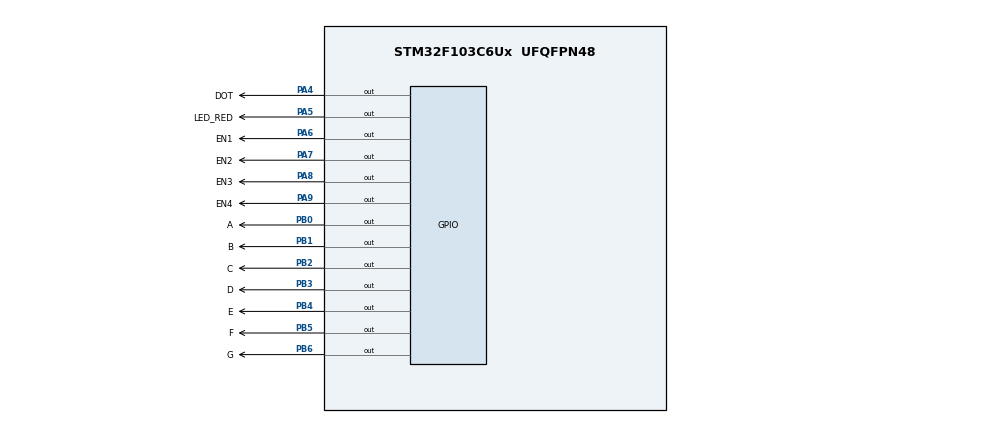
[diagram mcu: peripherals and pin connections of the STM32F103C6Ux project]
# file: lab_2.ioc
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Mcu.Family=STM32F1
Mcu.Name=STM32F103C6Ux
Mcu.Package=UFQFPN48
NVIC.PriorityGroup=NVIC_PRIORITYGROUP_4
NVIC.TIM2_IRQn=true\:0\:0\:false\:false\:true\:true\:true
PA4.GPIO_Label=DOT
PA4.Signal=GPIO_Output
PA5.GPIO_Label=LED_RED
PA5.Signal=GPIO_Output
PA6.GPIO_Label=EN1
PA6.Signal=GPIO_Output
PA7.GPIO_Label=EN2
PA7.Signal=GPIO_Output
PA8.GPIO_Label=EN3
PA8.Signal=GPIO_Output
PA9.GPIO_Label=EN4
PA9.Signal=GPIO_Output
PB0.GPIO_Label=A
PB0.Signal=GPIO_Output
PB1.GPIO_Label=B
PB1.Signal=GPIO_Output
PB2.GPIO_Label=C
PB2.Signal=GPIO_Output
PB3.GPIO_Label=D
PB3.Signal=GPIO_Output
PB4.GPIO_Label=E
PB4.Signal=GPIO_Output
PB5.GPIO_Label=F
PB5.Signal=GPIO_Output
PB6.GPIO_Label=G
PB6.Signal=GPIO_Output
ProjectManager.HeapSize=0x200
ProjectManager.StackSize=0x400
ProjectManager.TargetToolchain=STM32CubeIDE
RCC.APB1Freq_Value=8000000
RCC.APB2Freq_Value=8000000
TIM2.Period=9
TIM2.Prescaler=7999
VP_SYS_VS_ND.Mode=No_Debug
VP_TIM2_VS_ClockSourceINT.Mode=Internal
board=custom

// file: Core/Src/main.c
/* USER CODE BEGIN Header */
/**
  ******************************************************************************
  * @file           : main.c
  * @brief          : Main program body
  ******************************************************************************
  * @attention
  *
  * <h2><center>&copy; Copyright (c) 2022 STMicroelectronics.
  * All rights reserved.</center></h2>
  *
  * This software component is licensed by ST under BSD 3-Clause license,
  * the "License"; You may not use this file except in compliance with the
  * License. You may obtain a copy of the License at:
  *                        opensource.org/licenses/BSD-3-Clause
  *
  ******************************************************************************
  */
/* USER CODE END Header */
#include "main.h"

/* USER CODE BEGIN Includes */
#include "software_timer.h"
/* USER CODE END Includes */

TIM_HandleTypeDef htim2;
int hour, minute, second;

void SystemClock_Config(void);
static void MX_TIM2_Init(void);
static void MX_GPIO_Init(void);
/* USER CODE BEGIN PFP */
void display7SEG(int num);
void update7SEG(int index);
void updateClockBuffer();
/* USER CODE END PFP */

int main(void)
{

  /* MCU Configuration--------------------------------------------------------*/

  /* Reset of all peripherals, Initializes the Flash interface and the Systick. */
  HAL_Init();

  /* Configure the system clock */
  SystemClock_Config();

  /* Initialize all configured peripherals */
  MX_TIM2_Init();
  MX_GPIO_Init();
  /* USER CODE BEGIN 2 */
  HAL_TIM_Base_Start_IT(&htim2);
  /* USER CODE END 2 */

  /* Infinite loop */
  /* USER CODE BEGIN WHILE */
  setTimer0(1000);
  setTimer1(250);
  hour = 15, minute = 8, second = 50;
  int state = 0;
  while (1)
  {
    /* USER CODE END WHILE */
	  //ex5
	  /*second++;
	  if(second >= 60){
		  second = 0;
		  minute++;
	  }
	  if(minute >= 60){
		  minute = 0;
		  hour++;
	  }
	  if(hour >= 24){
		  hour = 0;
	  }
	  updateClockBuffer();
	  HAL_Delay(10);
	  */
	  //ex6
	  /*if( timer0_flag == 1) {
	     HAL_GPIO_TogglePin ( LED_RED_GPIO_Port , LED_RED_Pin ) ;
	     setTimer0 (2000) ;
	  }*/
	  //ex7
	  if( timer0_flag == 1) {
		  second++;
		  if(second >= 60){
			  second = 0;
			  minute++;
		  }
		  if(minute >= 60){
			  minute = 0;
			  hour++;
		  }
		  if(hour >= 24){
			  hour = 0;
		  }
		  updateClockBuffer();
	  	  setTimer0 (10) ;
	  }
	  if(timer1_flag == 1){
		  if(state == 0){
				HAL_GPIO_TogglePin ( DOT_GPIO_Port , DOT_Pin) ;
				setTimer1 (250);
				update7SEG(1);
				state = 1;
		  }
		  else if(state == 1){
				setTimer1 (250);
				update7SEG(2);
				state = 2;
		  }
		  else if(state == 2){
				HAL_GPIO_TogglePin ( DOT_GPIO_Port , DOT_Pin) ;
				setTimer1 (250);
				update7SEG(3);
				state = 3;
		  }
		  else{
				setTimer1 (250);
				update7SEG(0);
				state = 0;
		  }
	  }
  }
}

void SystemClock_Config(void)
{
  RCC_OscInitTypeDef RCC_OscInitStruct = {0};
  RCC_ClkInitTypeDef RCC_ClkInitStruct = {0};

  /** Initializes the RCC Oscillators according to the specified parameters
  * in the RCC_OscInitTypeDef structure.
  */
  RCC_OscInitStruct.OscillatorType = RCC_OSCILLATORTYPE_HSI;
  RCC_OscInitStruct.HSIState = RCC_HSI_ON;
  RCC_OscInitStruct.HSICalibrationValue = RCC_HSICALIBRATION_DEFAULT;
  RCC_OscInitStruct.PLL.PLLState = RCC_PLL_NONE;
  if (HAL_RCC_OscConfig(&RCC_OscInitStruct) != HAL_OK)
  {
    Error_Handler();
  }
  /** Initializes the CPU, AHB and APB buses clocks
  */
  RCC_ClkInitStruct.ClockType = RCC_CLOCKTYPE_HCLK|RCC_CLOCKTYPE_SYSCLK
                              |RCC_CLOCKTYPE_PCLK1|RCC_CLOCKTYPE_PCLK2;
  RCC_ClkInitStruct.SYSCLKSource = RCC_SYSCLKSOURCE_HSI;
  RCC_ClkInitStruct.AHBCLKDivider = RCC_SYSCLK_DIV1;
  RCC_ClkInitStruct.APB1CLKDivider = RCC_HCLK_DIV1;
  RCC_ClkInitStruct.APB2CLKDivider = RCC_HCLK_DIV1;

  if (HAL_RCC_ClockConfig(&RCC_ClkInitStruct, FLASH_LATENCY_0) != HAL_OK)
  {
    Error_Handler();
  }
}

static void MX_TIM2_Init(void)
{

  TIM_ClockConfigTypeDef sClockSourceConfig = {0};
  TIM_MasterConfigTypeDef sMasterConfig = {0};

  htim2.Instance = TIM2;
  htim2.Init.Prescaler = 7999;
  htim2.Init.CounterMode = TIM_COUNTERMODE_UP;
  htim2.Init.Period = 9;
  htim2.Init.ClockDivision = TIM_CLOCKDIVISION_DIV1;
  htim2.Init.AutoReloadPreload = TIM_AUTORELOAD_PRELOAD_DISABLE;
  if (HAL_TIM_Base_Init(&htim2) != HAL_OK)
  {
    Error_Handler();
  }
  sClockSourceConfig.ClockSource = TIM_CLOCKSOURCE_INTERNAL;
  if (HAL_TIM_ConfigClockSource(&htim2, &sClockSourceConfig) != HAL_OK)
  {
    Error_Handler();
  }
  sMasterConfig.MasterOutputTrigger = TIM_TRGO_RESET;
  sMasterConfig.MasterSlaveMode = TIM_MASTERSLAVEMODE_DISABLE;
  if (HAL_TIMEx_MasterConfigSynchronization(&htim2, &sMasterConfig) != HAL_OK)
  {
    Error_Handler();
  }

}

static void MX_GPIO_Init(void)
{
  GPIO_InitTypeDef GPIO_InitStruct = {0};

  /* GPIO Ports Clock Enable */
  __HAL_RCC_GPIOA_CLK_ENABLE();
  __HAL_RCC_GPIOB_CLK_ENABLE();

  /*Configure GPIO pin Output Level */
  HAL_GPIO_WritePin(GPIOA, DOT_Pin|LED_RED_Pin|EN1_Pin|EN2_Pin
                          |EN3_Pin|EN4_Pin, GPIO_PIN_RESET);

  /*Configure GPIO pin Output Level */
  HAL_GPIO_WritePin(GPIOB, A_Pin|B_Pin|C_Pin|D_Pin
                          |E_Pin|F_Pin|G_Pin, GPIO_PIN_RESET);

  /*Configure GPIO pins : DOT_Pin LED_RED_Pin EN1_Pin EN2_Pin
                           EN3_Pin EN4_Pin */
  GPIO_InitStruct.Pin = DOT_Pin|LED_RED_Pin|EN1_Pin|EN2_Pin
                          |EN3_Pin|EN4_Pin;
  GPIO_InitStruct.Mode = GPIO_MODE_OUTPUT_PP;
  GPIO_InitStruct.Pull = GPIO_NOPULL;
  GPIO_InitStruct.Speed = GPIO_SPEED_FREQ_LOW;
  HAL_GPIO_Init(GPIOA, &GPIO_InitStruct);

  /*Configure GPIO pins : A_Pin B_Pin C_Pin D_Pin
                           E_Pin F_Pin G_Pin */
  GPIO_InitStruct.Pin = A_Pin|B_Pin|C_Pin|D_Pin
                          |E_Pin|F_Pin|G_Pin;
  GPIO_InitStruct.Mode = GPIO_MODE_OUTPUT_PP;
  GPIO_InitStruct.Pull = GPIO_NOPULL;
  GPIO_InitStruct.Speed = GPIO_SPEED_FREQ_LOW;
  HAL_GPIO_Init(GPIOB, &GPIO_InitStruct);

}

/* USER CODE BEGIN 4 */
void display7SEG(int num){
	switch(num){
	case 0:
		HAL_GPIO_WritePin ( A_GPIO_Port , A_Pin , GPIO_PIN_RESET ) ;
		HAL_GPIO_WritePin ( B_GPIO_Port , B_Pin , GPIO_PIN_RESET ) ;
		HAL_GPIO_WritePin ( C_GPIO_Port , C_Pin , GPIO_PIN_RESET ) ;
		HAL_GPIO_WritePin ( D_GPIO_Port , D_Pin , GPIO_PIN_RESET ) ;
		HAL_GPIO_WritePin ( E_GPIO_Port , E_Pin , GPIO_PIN_RESET ) ;
		HAL_GPIO_WritePin ( F_GPIO_Port , F_Pin , GPIO_PIN_RESET ) ;
		HAL_GPIO_WritePin ( G_GPIO_Port , G_Pin , GPIO_PIN_SET ) ;
		break;
	case 1:
		HAL_GPIO_WritePin ( A_GPIO_Port , A_Pin , GPIO_PIN_SET ) ;
		HAL_GPIO_WritePin ( B_GPIO_Port , B_Pin , GPIO_PIN_RESET ) ;
		HAL_GPIO_WritePin ( C_GPIO_Port , C_Pin , GPIO_PIN_RESET ) ;
		HAL_GPIO_WritePin ( D_GPIO_Port , D_Pin , GPIO_PIN_SET ) ;
		HAL_GPIO_WritePin ( E_GPIO_Port , E_Pin , GPIO_PIN_SET ) ;
		HAL_GPIO_WritePin ( F_GPIO_Port , F_Pin , GPIO_PIN_SET ) ;
		HAL_GPIO_WritePin ( G_GPIO_Port , G_Pin , GPIO_PIN_SET ) ;
		break;
	case 2:
		HAL_GPIO_WritePin ( A_GPIO_Port , A_Pin , GPIO_PIN_RESET ) ;
		HAL_GPIO_WritePin ( B_GPIO_Port , B_Pin , GPIO_PIN_RESET ) ;
		HAL_GPIO_WritePin ( C_GPIO_Port , C_Pin , GPIO_PIN_SET ) ;
		HAL_GPIO_WritePin ( D_GPIO_Port , D_Pin , GPIO_PIN_RESET ) ;
		HAL_GPIO_WritePin ( E_GPIO_Port , E_Pin , GPIO_PIN_RESET ) ;
		HAL_GPIO_WritePin ( F_GPIO_Port , F_Pin , GPIO_PIN_SET ) ;
		HAL_GPIO_WritePin ( G_GPIO_Port , G_Pin , GPIO_PIN_RESET ) ;
		break;
	case 3:
		HAL_GPIO_WritePin ( A_GPIO_Port , A_Pin , GPIO_PIN_RESET ) ;
		HAL_GPIO_WritePin ( B_GPIO_Port , B_Pin , GPIO_PIN_RESET ) ;
		HAL_GPIO_WritePin ( C_GPIO_Port , C_Pin , GPIO_PIN_RESET ) ;
		HAL_GPIO_WritePin ( D_GPIO_Port , D_Pin , GPIO_PIN_RESET ) ;
		HAL_GPIO_WritePin ( E_GPIO_Port , E_Pin , GPIO_PIN_SET ) ;
		HAL_GPIO_WritePin ( F_GPIO_Port , F_Pin , GPIO_PIN_SET ) ;
		HAL_GPIO_WritePin ( G_GPIO_Port , G_Pin , GPIO_PIN_RESET ) ;
		break;
	case 4:
		HAL_GPIO_WritePin ( A_GPIO_Port , A_Pin , GPIO_PIN_SET ) ;
		HAL_GPIO_WritePin ( B_GPIO_Port , B_Pin , GPIO_PIN_RESET ) ;
		HAL_GPIO_WritePin ( C_GPIO_Port , C_Pin , GPIO_PIN_RESET ) ;
		HAL_GPIO_WritePin ( D_GPIO_Port , D_Pin , GPIO_PIN_SET ) ;
		HAL_GPIO_WritePin ( E_GPIO_Port , E_Pin , GPIO_PIN_SET ) ;
		HAL_GPIO_WritePin ( F_GPIO_Port , F_Pin , GPIO_PIN_RESET ) ;
		HAL_GPIO_WritePin ( G_GPIO_Port , G_Pin , GPIO_PIN_RESET ) ;
		break;
	case 5:
		HAL_GPIO_WritePin ( A_GPIO_Port , A_Pin , GPIO_PIN_RESET ) ;
		HAL_GPIO_WritePin ( B_GPIO_Port , B_Pin , GPIO_PIN_SET ) ;
		HAL_GPIO_WritePin ( C_GPIO_Port , C_Pin , GPIO_PIN_RESET ) ;
		HAL_GPIO_WritePin ( D_GPIO_Port , D_Pin , GPIO_PIN_RESET ) ;
		HAL_GPIO_WritePin ( E_GPIO_Port , E_Pin , GPIO_PIN_SET ) ;
		HAL_GPIO_WritePin ( F_GPIO_Port , F_Pin , GPIO_PIN_RESET ) ;
		HAL_GPIO_WritePin ( G_GPIO_Port , G_Pin , GPIO_PIN_RESET ) ;
		break;
	case 6:
		HAL_GPIO_WritePin ( A_GPIO_Port , A_Pin , GPIO_PIN_RESET ) ;
		HAL_GPIO_WritePin ( B_GPIO_Port , B_Pin , GPIO_PIN_SET ) ;
		HAL_GPIO_WritePin ( C_GPIO_Port , C_Pin , GPIO_PIN_RESET ) ;
		HAL_GPIO_WritePin ( D_GPIO_Port , D_Pin , GPIO_PIN_RESET ) ;
		HAL_GPIO_WritePin ( E_GPIO_Port , E_Pin , GPIO_PIN_RESET ) ;
		HAL_GPIO_WritePin ( F_GPIO_Port , F_Pin , GPIO_PIN_RESET ) ;
		HAL_GPIO_WritePin ( G_GPIO_Port , G_Pin , GPIO_PIN_RESET ) ;
		break;
	case 7:
		HAL_GPIO_WritePin ( A_GPIO_Port , A_Pin , GPIO_PIN_RESET ) ;
		HAL_GPIO_WritePin ( B_GPIO_Port , B_Pin , GPIO_PIN_RESET ) ;
		HAL_GPIO_WritePin ( C_GPIO_Port , C_Pin , GPIO_PIN_RESET ) ;
		HAL_GPIO_WritePin ( D_GPIO_Port , D_Pin , GPIO_PIN_SET ) ;
		HAL_GPIO_WritePin ( E_GPIO_Port , E_Pin , GPIO_PIN_SET ) ;
		HAL_GPIO_WritePin ( F_GPIO_Port , F_Pin , GPIO_PIN_SET ) ;
		HAL_GPIO_WritePin ( G_GPIO_Port , G_Pin , GPIO_PIN_SET ) ;
		break;
	case 8:
		HAL_GPIO_WritePin ( A_GPIO_Port , A_Pin , GPIO_PIN_RESET ) ;
		HAL_GPIO_WritePin ( B_GPIO_Port , B_Pin , GPIO_PIN_RESET ) ;
		HAL_GPIO_WritePin ( C_GPIO_Port , C_Pin , GPIO_PIN_RESET ) ;
		HAL_GPIO_WritePin ( D_GPIO_Port , D_Pin , GPIO_PIN_RESET ) ;
		HAL_GPIO_WritePin ( E_GPIO_Port , E_Pin , GPIO_PIN_RESET ) ;
		HAL_GPIO_WritePin ( F_GPIO_Port , F_Pin , GPIO_PIN_RESET ) ;
		HAL_GPIO_WritePin ( G_GPIO_Port , G_Pin , GPIO_PIN_RESET ) ;
		break;
	case 9:
		HAL_GPIO_WritePin ( A_GPIO_Port , A_Pin , GPIO_PIN_RESET ) ;
		HAL_GPIO_WritePin ( B_GPIO_Port , B_Pin , GPIO_PIN_RESET ) ;
		HAL_GPIO_WritePin ( C_GPIO_Port , C_Pin , GPIO_PIN_RESET ) ;
		HAL_GPIO_WritePin ( D_GPIO_Port , D_Pin , GPIO_PIN_RESET ) ;
		HAL_GPIO_WritePin ( E_GPIO_Port , E_Pin , GPIO_PIN_SET ) ;
		HAL_GPIO_WritePin ( F_GPIO_Port , F_Pin , GPIO_PIN_RESET ) ;
		HAL_GPIO_WritePin ( G_GPIO_Port , G_Pin , GPIO_PIN_RESET ) ;
		break;
	default:
		HAL_GPIO_WritePin ( A_GPIO_Port , A_Pin , GPIO_PIN_RESET ) ;
		HAL_GPIO_WritePin ( B_GPIO_Port , B_Pin , GPIO_PIN_RESET ) ;
		HAL_GPIO_WritePin ( C_GPIO_Port , C_Pin , GPIO_PIN_RESET ) ;
		HAL_GPIO_WritePin ( D_GPIO_Port , D_Pin , GPIO_PIN_RESET ) ;
		HAL_GPIO_WritePin ( E_GPIO_Port , E_Pin , GPIO_PIN_RESET ) ;
		HAL_GPIO_WritePin ( F_GPIO_Port , F_Pin , GPIO_PIN_RESET ) ;
		HAL_GPIO_WritePin ( G_GPIO_Port , G_Pin , GPIO_PIN_RESET ) ;

	}
}
int counter = 50;
int status = 0;
//ex3
const int MAX_LED = 4;
int index_led = 0;
int led_buffer[4] = {1,2,3,4};
void update7SEG(int index){
	switch(index){
	case 0:
		HAL_GPIO_WritePin ( EN1_GPIO_Port , EN1_Pin , GPIO_PIN_RESET ) ;
        HAL_GPIO_WritePin ( EN2_GPIO_Port , EN2_Pin , GPIO_PIN_SET ) ;
        HAL_GPIO_WritePin ( EN3_GPIO_Port , EN3_Pin , GPIO_PIN_SET ) ;
        HAL_GPIO_WritePin ( EN4_GPIO_Port , EN4_Pin , GPIO_PIN_SET ) ;
		display7SEG(led_buffer[0]);
		break;
	case 1:
		HAL_GPIO_WritePin ( EN1_GPIO_Port , EN1_Pin , GPIO_PIN_SET ) ;
        HAL_GPIO_WritePin ( EN2_GPIO_Port , EN2_Pin , GPIO_PIN_RESET ) ;
        HAL_GPIO_WritePin ( EN3_GPIO_Port , EN3_Pin , GPIO_PIN_SET ) ;
        HAL_GPIO_WritePin ( EN4_GPIO_Port , EN4_Pin , GPIO_PIN_SET ) ;
		display7SEG(led_buffer[1]);
		break;
	case 2:
		HAL_GPIO_WritePin ( EN1_GPIO_Port , EN1_Pin , GPIO_PIN_SET ) ;
        HAL_GPIO_WritePin ( EN2_GPIO_Port , EN2_Pin , GPIO_PIN_SET ) ;
        HAL_GPIO_WritePin ( EN3_GPIO_Port , EN3_Pin , GPIO_PIN_RESET ) ;
        HAL_GPIO_WritePin ( EN4_GPIO_Port , EN4_Pin , GPIO_PIN_SET ) ;
		display7SEG(led_buffer[2]);
		break;
	case 3:
		HAL_GPIO_WritePin ( EN1_GPIO_Port , EN1_Pin , GPIO_PIN_SET ) ;
        HAL_GPIO_WritePin ( EN2_GPIO_Port , EN2_Pin , GPIO_PIN_SET ) ;
        HAL_GPIO_WritePin ( EN3_GPIO_Port , EN3_Pin , GPIO_PIN_SET ) ;
        HAL_GPIO_WritePin ( EN4_GPIO_Port , EN4_Pin , GPIO_PIN_RESET ) ;
		display7SEG(led_buffer[3]);
		break;
	default:
		break;
	}
}
//ex5
void updateClockBuffer(){
    led_buffer[0] = hour/10;
    led_buffer[1] = hour%10;
    led_buffer[2] = minute/10;
    led_buffer[3] = minute%10;
}
void HAL_TIM_PeriodElapsedCallback(TIM_HandleTypeDef *htim){
	//ex1
	/*counter--;
	if(counter <= 0 && status == 0){
		HAL_GPIO_WritePin ( EN1_GPIO_Port , EN1_Pin , GPIO_PIN_SET ) ;
        HAL_GPIO_WritePin ( EN2_GPIO_Port , EN2_Pin , GPIO_PIN_RESET ) ;
		counter = 50;
		display7SEG(2);
		status = 1;
	}
	else if(counter <= 0 &&  status == 1){
		HAL_GPIO_WritePin ( EN1_GPIO_Port , EN1_Pin , GPIO_PIN_RESET ) ;
        HAL_GPIO_WritePin ( EN2_GPIO_Port , EN2_Pin , GPIO_PIN_SET ) ;
		counter = 50;
		display7SEG(1);
		status = 0;
	}*/
	//ex2
	/*counter--;
	if(counter <= 0 && status == 0){
		HAL_GPIO_TogglePin ( DOT_GPIO_Port , DOT_Pin) ;
		HAL_GPIO_WritePin ( EN1_GPIO_Port , EN1_Pin , GPIO_PIN_SET ) ;
        HAL_GPIO_WritePin ( EN2_GPIO_Port , EN2_Pin , GPIO_PIN_RESET ) ;
        HAL_GPIO_WritePin ( EN3_GPIO_Port , EN3_Pin , GPIO_PIN_SET ) ;
        HAL_GPIO_WritePin ( EN4_GPIO_Port , EN4_Pin , GPIO_PIN_SET ) ;
		counter = 50;
		display7SEG(2);
		status = 1;
	}
	else if(counter <= 0 &&  status == 1){
		HAL_GPIO_TogglePin ( DOT_GPIO_Port , DOT_Pin) ;
		HAL_GPIO_WritePin ( EN1_GPIO_Port , EN1_Pin , GPIO_PIN_SET ) ;
        HAL_GPIO_WritePin ( EN2_GPIO_Port , EN2_Pin , GPIO_PIN_SET ) ;
        HAL_GPIO_WritePin ( EN3_GPIO_Port , EN3_Pin , GPIO_PIN_RESET ) ;
        HAL_GPIO_WritePin ( EN4_GPIO_Port , EN4_Pin , GPIO_PIN_SET ) ;
		counter = 50;
		display7SEG(3);
		status = 2;
	}
	else if(counter <= 0 &&  status == 2){
		HAL_GPIO_TogglePin ( DOT_GPIO_Port , DOT_Pin) ;
		HAL_GPIO_WritePin ( EN1_GPIO_Port , EN1_Pin , GPIO_PIN_SET ) ;
        HAL_GPIO_WritePin ( EN2_GPIO_Port , EN2_Pin , GPIO_PIN_SET ) ;
        HAL_GPIO_WritePin ( EN3_GPIO_Port , EN3_Pin , GPIO_PIN_SET ) ;
        HAL_GPIO_WritePin ( EN4_GPIO_Port , EN4_Pin , GPIO_PIN_RESET ) ;
		counter = 50;
		display7SEG(0);
		status = 3;
	}
	else if(counter <= 0 &&  status == 3){
		HAL_GPIO_TogglePin ( DOT_GPIO_Port , DOT_Pin) ;
		HAL_GPIO_WritePin ( EN1_GPIO_Port , EN1_Pin , GPIO_PIN_RESET ) ;
        HAL_GPIO_WritePin ( EN2_GPIO_Port , EN2_Pin , GPIO_PIN_SET ) ;
        HAL_GPIO_WritePin ( EN3_GPIO_Port , EN3_Pin , GPIO_PIN_SET ) ;
        HAL_GPIO_WritePin ( EN4_GPIO_Port , EN4_Pin , GPIO_PIN_SET ) ;
		counter = 50;
		display7SEG(1);
		status = 0;
	}*/
	//ex3
	/*counter--;
	if(counter <= 0 && status == 0){
		HAL_GPIO_TogglePin ( DOT_GPIO_Port , DOT_Pin) ;
		counter = 50;
		update7SEG(1);
		status = 1;
	}
	else if(counter <= 0 &&  status == 1){
		HAL_GPIO_TogglePin ( DOT_GPIO_Port , DOT_Pin) ;
		counter = 50;
		update7SEG(2);
		status = 2;
	}
	else if(counter <= 0 &&  status == 2){
		HAL_GPIO_TogglePin ( DOT_GPIO_Port , DOT_Pin) ;
		counter = 50;
		update7SEG(3);
		status = 3;
	}
	else if(counter <= 0 &&  status == 3){
		HAL_GPIO_TogglePin ( DOT_GPIO_Port , DOT_Pin) ;
		counter = 50;
		update7SEG(0);
		status = 0;
	}*/
	//ex4
	/*counter--;
	if(counter <= 0 && status == 0){
		HAL_GPIO_TogglePin ( DOT_GPIO_Port , DOT_Pin) ;
		counter = 25;
		update7SEG(1);
		status = 1;
	}
	else if(counter <= 0 &&  status == 1){
		counter = 25;
		update7SEG(2);
		status = 2;
	}
	else if(counter <= 0 &&  status == 2){
		HAL_GPIO_TogglePin ( DOT_GPIO_Port , DOT_Pin) ;
		counter = 25;
		update7SEG(3);
		status = 3;
	}
	else if(counter <= 0 &&  status == 3){
		counter = 25;
		update7SEG(0);
		status = 0;
	}*/
	//ex6
	timer_run();
}
/* USER CODE END 4 */

void Error_Handler(void)
{
  __disable_irq();
  while (1)
  {
  }
}

/************************ (C) COPYRIGHT STMicroelectronics *****END OF FILE****/
